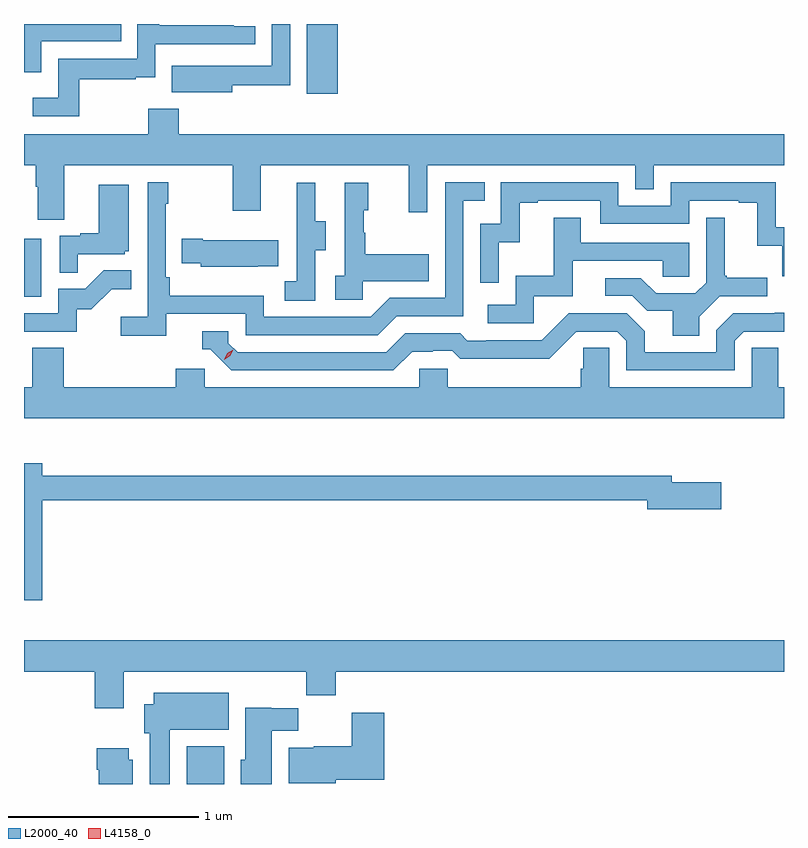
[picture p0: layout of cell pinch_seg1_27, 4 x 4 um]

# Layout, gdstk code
import gdstk
lib = gdstk.Library(unit=1e-6, precision=1e-09)
def R(c, l, rs):  # rectangles x0, y0, x1, y1
    for r in rs: c.add(gdstk.rectangle(r[:2], r[2:], *l))
def P(c, l, *ps):  # polygons
    for p in ps: c.add(gdstk.Polygon(p, *l))
L2000_40 = (2000, 40)
L4158_0 = (4158, 0)

pinch_seg1_27 = lib.new_cell('pinch_seg1_27')
R(pinch_seg1_27, L2000_40, [(1079.114,576.448,1079.311,576.646), (1078.258,579.012,1078.348,579.319), (1079.747,580.08,1079.908,580.448)])
P(pinch_seg1_27, L2000_40, [(1078.35,580.356),(1078.769,580.356),(1078.769,580.448),(1078.258,580.448),(1078.258,580.193),(1078.35,580.193)],
  [(1078.549,580.158),(1078.847,580.158),(1078.847,580.169),(1078.95,580.169),(1078.95,580.341),(1079.476,580.341),(1079.476,580.437),(1079.363,580.437),(1079.363,580.442),(1078.97,580.442),(1078.97,580.448),(1078.854,580.448),(1078.854,580.266),(1078.438,580.266),(1078.438,580.06),(1078.303,580.06),(1078.303,579.963),(1078.549,579.963)],
  [(1079.353,580.126),(1079.658,580.126),(1079.658,580.448),(1079.562,580.448),(1079.562,580.227),(1079.249,580.227),(1079.249,580.228),(1079.035,580.228),(1079.035,580.088),(1079.353,580.088)],
  [(1078.471,579.704),(1079.356,579.704),(1079.356,579.465),(1079.503,579.465),(1079.503,579.704),(1080.284,579.704),(1080.284,579.456),(1080.381,579.456),(1080.381,579.704),(1081.476,579.704),(1081.476,579.577),(1081.572,579.577),(1081.572,579.704),(1082.258,579.704),(1082.258,579.868),(1079.072,579.868),(1079.072,580.003),(1078.912,580.003),(1078.912,579.868),(1078.258,579.868),(1078.258,579.704),(1078.319,579.704),(1078.319,579.592),(1078.331,579.592),(1078.331,579.418),(1078.471,579.418)],
  [(1079.006,578.922),(1079.424,578.922),(1079.424,578.811),(1080.121,578.811),(1080.22,578.91),(1080.57,578.91),(1080.57,579.519),(1080.683,579.519),(1080.683,579.615),(1080.474,579.615),(1080.474,579.006),(1080.183,579.006),(1080.084,578.907),(1079.52,578.907),(1079.52,579.019),(1079.024,579.019),(1079.024,579.115),(1079.004,579.115),(1079.004,579.503),(1079.017,579.503),(1079.017,579.616),(1078.908,579.616),(1078.908,578.908),(1078.767,578.908),(1078.767,578.806),(1079.006,578.806)],
  [(1080.756,579.299),(1080.866,579.299),(1080.866,579.507),(1080.961,579.507),(1080.961,579.519),(1081.29,579.519),(1081.29,579.396),(1081.758,579.396),(1081.758,579.519),(1082.021,579.519),(1082.021,579.507),(1082.117,579.507),(1082.117,579.281),(1082.25,579.281),(1082.25,579.12),(1082.258,579.12),(1082.258,579.379),(1082.214,579.379),(1082.214,579.615),(1081.662,579.615),(1081.662,579.492),(1081.386,579.492),(1081.386,579.615),(1080.768,579.615),(1080.768,579.396),(1080.66,579.396),(1080.66,579.087),(1080.756,579.087)],
  [(1080.042,579.095),(1080.389,579.095),(1080.389,579.235),(1080.055,579.235),(1080.055,579.35),(1080.045,579.35),(1080.045,579.468),(1080.07,579.468),(1080.07,579.613),(1079.946,579.613),(1079.946,579.122),(1079.895,579.122),(1079.895,578.997),(1080.042,578.997)],
  [(1079.79,579.256),(1079.845,579.256),(1079.845,579.411),(1079.791,579.411),(1079.791,579.613),(1079.693,579.613),(1079.693,579.399),(1079.694,579.399),(1079.694,579.095),(1079.631,579.095),(1079.631,578.992),(1079.79,578.992)],
  [(1078.541,579.237),(1078.788,579.237),(1078.788,579.252),(1078.81,579.252),(1078.81,579.601),(1078.652,579.601),(1078.652,579.346),(1078.553,579.346),(1078.553,579.333),(1078.446,579.333),(1078.446,579.139),(1078.541,579.139)],
  [(1081.813,578.908),(1081.92,579.015),(1082.17,579.015),(1082.17,579.112),(1081.957,579.112),(1081.957,579.124),(1081.945,579.124),(1081.945,579.427),(1081.848,579.427),(1081.848,579.087),(1081.791,579.03),(1081.585,579.03),(1081.504,579.111),(1081.317,579.111),(1081.317,579.018),(1081.458,579.018),(1081.538,578.938),(1081.673,578.938),(1081.673,578.806),(1081.813,578.806)],
  [(1080.942,579.015),(1081.147,579.015),(1081.147,579.201),(1081.621,579.201),(1081.621,579.117),(1081.758,579.117),(1081.758,579.297),(1081.189,579.297),(1081.189,579.427),(1081.045,579.427),(1081.045,579.124),(1080.846,579.124),(1080.846,578.97),(1080.699,578.97),(1080.699,578.874),(1080.942,578.874)],
  [(1079.489,579.173),(1079.597,579.173),(1079.597,579.31),(1079.2,579.31),(1079.2,579.318),(1079.089,579.318),(1079.089,579.188),(1079.187,579.188),(1079.187,579.17),(1079.489,579.17)],
  [(1078.536,578.946),(1078.612,578.946),(1078.719,579.053),(1078.823,579.053),(1078.823,579.152),(1078.679,579.152),(1078.581,579.054),(1078.437,579.054),(1078.437,578.925),(1078.258,578.925),(1078.258,578.829),(1078.536,578.829)],
  [(1080.301,578.724),(1080.408,578.724),(1080.408,578.727),(1080.511,578.727),(1080.553,578.685),(1080.786,578.685),(1080.786,578.687),(1081.022,578.687),(1081.164,578.829),(1081.38,578.829),(1081.428,578.781),(1081.428,578.625),(1081.998,578.625),(1081.998,578.781),(1082.046,578.829),(1082.258,578.829),(1082.258,578.927),(1082.208,578.927),(1082.208,578.925),(1081.992,578.925),(1081.902,578.835),(1081.902,578.721),(1081.525,578.721),(1081.525,578.831),(1081.431,578.925),(1081.125,578.925),(1080.984,578.784),(1080.691,578.784),(1080.691,578.781),(1080.592,578.781),(1080.553,578.82),(1080.264,578.82),(1080.165,578.721),(1079.382,578.721),(1079.334,578.769),(1079.334,578.832),(1079.195,578.832),(1079.195,578.736),(1079.238,578.736),(1079.349,578.625),(1080.202,578.625)],
  [(1082.258,578.536),(1082.227,578.536),(1082.227,578.744),(1082.088,578.744),(1082.088,578.536),(1081.338,578.536),(1081.338,578.744),(1081.201,578.744),(1081.201,578.634),(1081.187,578.634),(1081.187,578.536),(1080.489,578.536),(1080.489,578.634),(1080.339,578.634),(1080.339,578.536),(1079.208,578.536),(1079.208,578.634),(1079.057,578.634),(1079.057,578.536),(1078.466,578.536),(1078.466,578.744),(1078.301,578.744),(1078.301,578.536),(1078.258,578.536),(1078.258,578.372),(1082.258,578.372)],
  [(1078.354,577.942),(1081.538,577.942),(1081.538,577.895),(1081.927,577.895),(1081.927,578.037),(1081.666,578.037),(1081.666,578.071),(1078.354,578.071),(1078.354,578.137),(1078.258,578.137),(1078.258,577.416),(1078.354,577.416)],
  [(1078.783,577.04),(1079.743,577.04),(1079.743,576.916),(1079.9,576.916),(1079.9,577.04),(1082.258,577.04),(1082.258,577.204),(1078.258,577.204),(1078.258,577.04),(1078.631,577.04),(1078.631,576.846),(1078.783,576.846)],
  [(1079.026,576.734),(1079.335,576.734),(1079.335,576.928),(1078.94,576.928),(1078.94,576.868),(1078.892,576.868),(1078.892,576.714),(1078.919,576.714),(1078.919,576.448),(1079.026,576.448)],
  [(1079.563,576.728),(1079.702,576.728),(1079.702,576.846),(1079.559,576.846),(1079.559,576.85),(1079.423,576.85),(1079.423,576.576),(1079.399,576.576),(1079.399,576.448),(1079.563,576.448)],
  [(1079.898,576.47),(1080.155,576.47),(1080.155,576.823),(1079.984,576.823),(1079.984,576.646),(1079.784,576.646),(1079.784,576.64),(1079.651,576.64),(1079.651,576.452),(1079.898,576.452)],
  [(1078.831,576.576),(1078.81,576.576),(1078.81,576.637),(1078.64,576.637),(1078.64,576.524),(1078.652,576.524),(1078.652,576.448),(1078.831,576.448)])
P(pinch_seg1_27, L4158_0, [(1079.312,578.681),(1079.312,578.682),(1079.328,578.714),(1079.359,578.734),(1079.36,578.734),(1079.36,578.734),(1079.343,578.701),(1079.312,578.681)])

lib.write_gds('pinch_seg1_27.gds')
